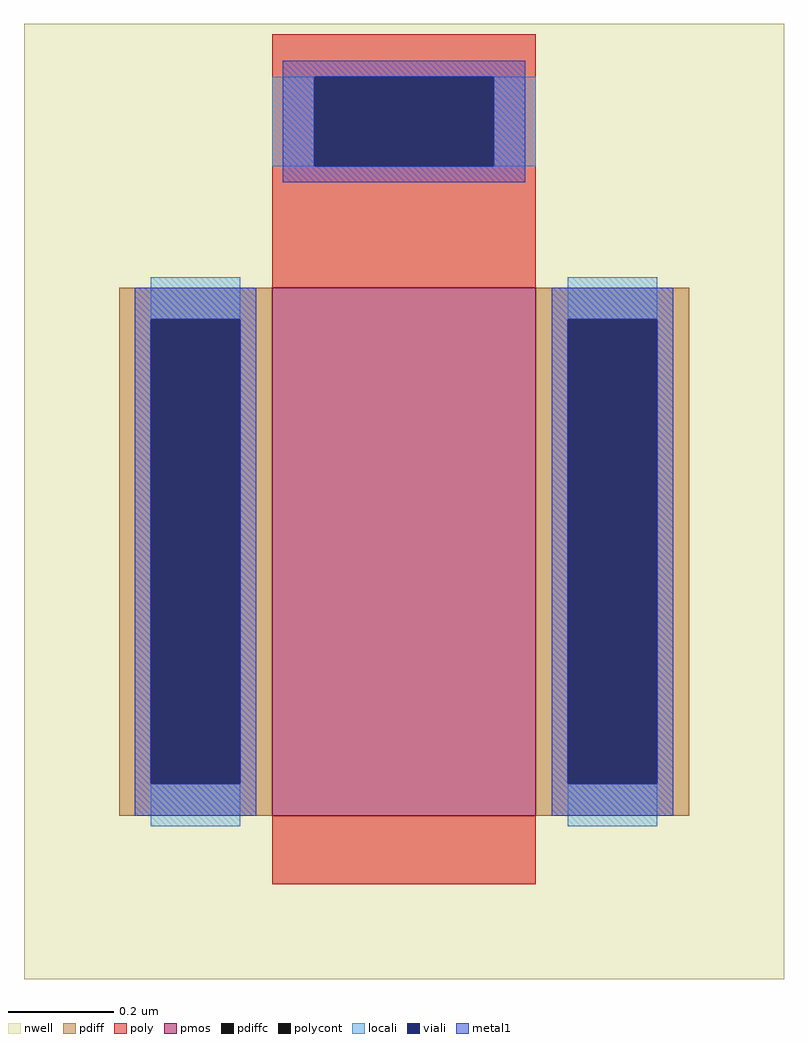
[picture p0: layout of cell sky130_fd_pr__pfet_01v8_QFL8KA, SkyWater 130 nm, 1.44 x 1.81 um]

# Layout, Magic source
magic
tech sky130A
<< nwell >>
rect -72 -99 72 82
<< pmos >>
rect -25 -68 25 32
<< pdiff >>
rect -54 26 -25 32
rect -54 -62 -48 26
rect -31 -62 -25 26
rect -54 -68 -25 -62
rect 25 26 54 32
rect 25 -62 31 26
rect 48 -62 54 26
rect 25 -68 54 -62
<< pdiffc >>
rect -48 -62 -31 26
rect 31 -62 48 26
<< poly >>
rect -25 72 25 80
rect -25 55 -17 72
rect 17 55 25 72
rect -25 32 25 55
rect -25 -81 25 -68
<< polycont >>
rect -17 55 17 72
<< locali >>
rect -25 55 -17 72
rect 17 55 25 72
rect -48 26 -31 34
rect -48 -70 -31 -62
rect 31 26 48 34
rect 31 -70 48 -62
<< viali >>
rect -17 55 17 72
rect -48 -62 -31 26
rect 31 -62 48 26
<< metal1 >>
rect -23 72 23 75
rect -23 55 -17 72
rect 17 55 23 72
rect -23 52 23 55
rect -51 26 -28 32
rect -51 -62 -48 26
rect -31 -62 -28 26
rect -51 -68 -28 -62
rect 28 26 51 32
rect 28 -62 31 26
rect 48 -62 51 26
rect 28 -68 51 -62
<< properties >>
string gencell sky130_fd_pr__pfet_01v8
string library sky130
string parameters w 1.0 l 0.5 m 1 nf 1 diffcov 100 polycov 100 guard 0 glc 0 grc 0 gtc 0 gbc 0 tbcov 100 rlcov 100 topc 1 botc 0 poverlap 0 doverlap 1 lmin 0.15 wmin 0.42 class mosfet compatible {sky130_fd_pr__pfet_01v8  sky130_fd_pr__pfet_01v8_lvt sky130_fd_pr__pfet_01v8_hvt  sky130_fd_pr__pfet_g5v0d10v5} full_metal 0 viasrc 100 viadrn 100 viagate 100 viagb 0 viagr 0 viagl 0 viagt 0
<< end >>
